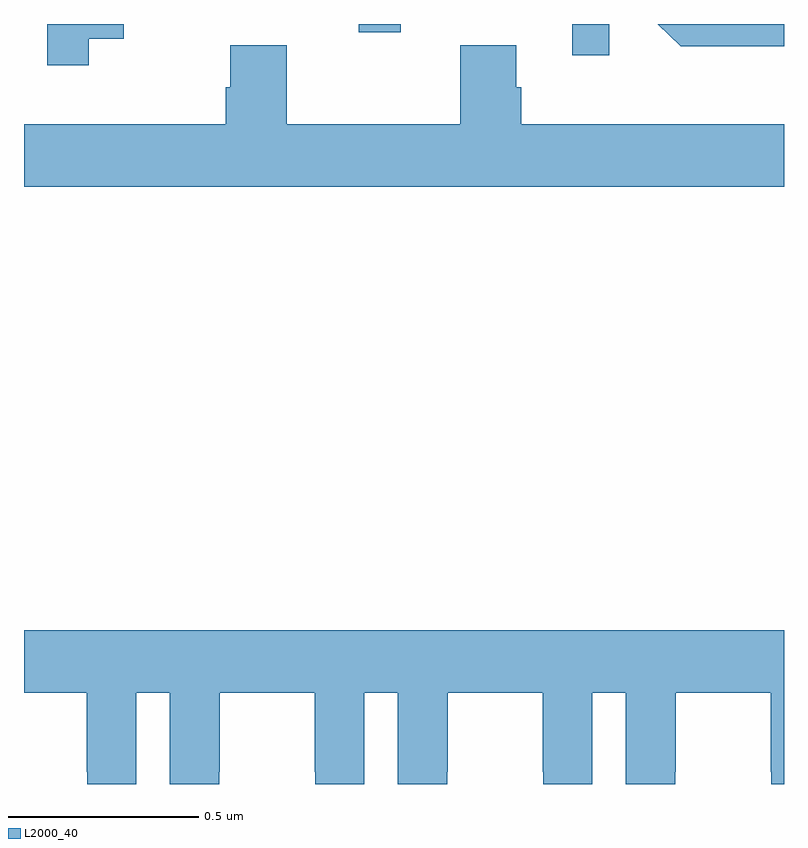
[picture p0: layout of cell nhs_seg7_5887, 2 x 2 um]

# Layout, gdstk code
import gdstk
lib = gdstk.Library(unit=1e-6, precision=1e-09)
def R(c, l, rs):  # rectangles x0, y0, x1, y1
    for r in rs: c.add(gdstk.rectangle(r[:2], r[2:], *l))
def P(c, l, *ps):  # polygons
    for p in ps: c.add(gdstk.Polygon(p, *l))
L2000_40 = (2000, 40)

nhs_seg7_5887 = lib.new_cell('nhs_seg7_5887')
R(nhs_seg7_5887, L2000_40, [(192.443,1044.918,192.54,1045), (191.881,1044.978,191.992,1045)])
P(nhs_seg7_5887, L2000_40, [(191.17,1044.961),(191.262,1044.961),(191.262,1045),(191.061,1045),(191.061,1044.891),(191.17,1044.891)],
  [(193,1045),(192.668,1045),(192.728,1044.941),(193,1044.941)],
  [(193,1044.736),(192.308,1044.736),(192.308,1044.834),(192.295,1044.834),(192.295,1044.944),(192.148,1044.944),(192.148,1044.736),(191.691,1044.736),(191.691,1044.944),(191.543,1044.944),(191.543,1044.834),(191.531,1044.834),(191.531,1044.736),(191,1044.736),(191,1044.572),(193,1044.572)],
  [(191.296,1043.24),(191.384,1043.24),(191.384,1043),(191.514,1043),(191.514,1043.032),(191.515,1043.032),(191.515,1043.24),(191.765,1043.24),(191.765,1043.032),(191.766,1043.032),(191.766,1043),(191.896,1043),(191.896,1043.24),(191.984,1043.24),(191.984,1043),(192.114,1043),(192.114,1043.032),(192.115,1043.032),(192.115,1043.24),(192.365,1043.24),(192.365,1043.032),(192.366,1043.032),(192.366,1043),(192.496,1043),(192.496,1043.24),(192.584,1043.24),(192.584,1043),(192.714,1043),(192.714,1043.032),(192.715,1043.032),(192.715,1043.24),(192.965,1043.24),(192.965,1043.032),(192.966,1043.032),(192.966,1043),(193,1043),(193,1043.404),(191,1043.404),(191,1043.24),(191.165,1043.24),(191.165,1043.032),(191.166,1043.032),(191.166,1043),(191.296,1043)])

lib.write_gds('nhs_seg7_5887.gds')
